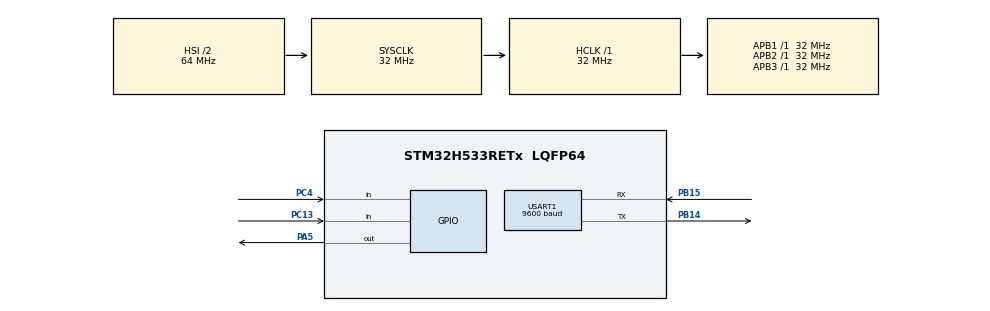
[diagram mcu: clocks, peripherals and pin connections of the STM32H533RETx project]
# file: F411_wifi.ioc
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BOOTPATH.BootPathName=LEGACY
BOOTPATH.UserSelectedBootPath=LEGACY
CORTEX_M33_NS.userName=CORTEX_M33
Mcu.Family=STM32H5
Mcu.Name=STM32H533RETx
Mcu.Package=LQFP64
NUCLEO-H533RE.BUTTON=1
NUCLEO-H533RE.LD4=true
NUCLEO-H533RE.VCP=true
NVIC.EXTI13_IRQn=true\:0\:0\:false\:false\:true\:false\:true\:true
NVIC.PriorityGroup=NVIC_PRIORITYGROUP_4
PA13(JTMS/SWDIO).GPIO_Label=SWDIO
PA13(JTMS/SWDIO).Signal=DEBUG_JTMS-SWDIO
PA14(JTCK/SWCLK).GPIO_Label=SWCLK
PA14(JTCK/SWCLK).Signal=DEBUG_JTCK-SWCLK
PA15(JTDI).GPIO_Label=JTDI
PA15(JTDI).Signal=DEBUG_JTDI
PA2.Signal=USART2_TX
PA3.Signal=USART2_RX
PA5.Signal=GPIO_Output
PB14.Mode=Asynchronous
PB14.Signal=USART1_TX
PB15.Mode=Asynchronous
PB15.Signal=USART1_RX
PB3(JTDO/TRACESWO).GPIO_Label=SWO
PB3(JTDO/TRACESWO).Signal=DEBUG_JTDO-SWO
PC13.GPIO_PuPd=GPIO_PULLUP
PC13.Signal=GPIO_Input
PC4.Signal=GPIO_Input
ProjectManager.HeapSize=0x200
ProjectManager.StackSize=0x400
ProjectManager.TargetToolchain=STM32CubeIDE
RCC.ADCFreq_Value=32000000
RCC.AHBFreq_Value=32000000
RCC.APB1Freq_Value=32000000
RCC.APB1TimFreq_Value=32000000
RCC.APB2Freq_Value=32000000
RCC.APB2TimFreq_Value=32000000
RCC.APB3Freq_Value=32000000
RCC.CSI_VALUE=4000000
RCC.CortexFreq_Value=32000000
RCC.EPOD_VALUE=4000000
RCC.HCLKFreq_Value=32000000
RCC.HSE_VALUE=25000000
RCC.HSI48_VALUE=48000000
RCC.HSI_VALUE=64000000
RCC.LSE_VALUE=32768
RCC.LSIRC_VALUE=32000
RCC.SYSCLKFreq_VALUE=32000000
RCC.USBFreq_Value=48000000
RCC.VCOOutputFreq_Value=516000000
USART1.BaudRate=9600
USART1.VirtualMode-Asynchronous=VM_ASYNC
VP_BOOTPATH_VS_BOOTPATH.Mode=BP_Activate
VP_CORTEX_M33_NS_VS_Hclk.Mode=Hclk_Mode
VP_MEMORYMAP_VS_MEMORYMAP.Mode=CurAppReg
VP_NUCLEO-H533RE_VS_BSP_COMMON.Mode=COMMON
VP_PWR_VS_LPOM.Mode=PowerOptimisation
VP_PWR_VS_SECSignals.Mode=Security/Privilege
board=NUCLEO-H533RE

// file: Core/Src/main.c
/* USER CODE BEGIN Header */
/**
  ******************************************************************************
  * @file           : main.c
  * @brief          : Main program body
  ******************************************************************************
  * @attention
  *
  * Copyright (c) 2025 STMicroelectronics.
  * All rights reserved.
  *
  * This software is licensed under terms that can be found in the LICENSE file
  * in the root directory of this software component.
  * If no LICENSE file comes with this software, it is provided AS-IS.
  *
  ******************************************************************************
  */
/* USER CODE END Header */
#include "main.h"

/* USER CODE BEGIN Includes */
#include <string.h>
#include <stdio.h>
#include <ctype.h>
/* USER CODE END Includes */

/* USER CODE BEGIN PD */
#define WIFI_BAUD     9600
#define AP_SSID       "STM32-WiFi-Lab"
#define AP_PW         "change-this-lab-password"
#define TCP_PORT      5000
/* USER CODE END PD */

COM_InitTypeDef BspCOMInit;

UART_HandleTypeDef huart1;

/* USER CODE BEGIN PV */
static volatile uint8_t led_state = 0;  // LD2
static uint8_t  btn_prev  = 1;         // PC13
static char     line_buf[128];

static int last_client_id = 0; // 마지막으로 접속한 클라이언트 ID 저장용
/* USER CODE END PV */

void SystemClock_Config(void);
static void MX_GPIO_Init(void);
static void MX_USART1_UART_Init(void);

/* USER CODE BEGIN 0 */
static void uart_send(const char *s){ HAL_UART_Transmit(&huart1,(uint8_t*)s,(uint16_t)strlen(s),1000); }
static void uart_send_ln(const char *s){ uart_send(s); uart_send("\r\n"); }

// '\n'까지 라인 받기
static int uart_read_line(char *out, uint16_t maxlen, uint32_t timeout_ms)
{
  uint32_t t0=HAL_GetTick(); uint16_t i=0; uint8_t b;
  while((HAL_GetTick()-t0)<timeout_ms && i<(maxlen-1)){
    if(HAL_UART_Receive(&huart1,&b,1,10)==HAL_OK){ out[i++]=(char)b; if(b=='\n') break; }
  }
  out[i]=0; return (i>0);
}

// 보드레이트 변경(런타임)
static void uart_set_baud(uint32_t baud)
{
  HAL_UART_DeInit(&huart1);
  huart1.Init.BaudRate = baud;
  HAL_UART_Init(&huart1);
}

// AT 기대 토큰 대기 (OK/no change/READY도 통과)
static int at_expect(const char *cmd, const char *expect, uint32_t timeout_ms)
{
	if(cmd&&*cmd) uart_send_ln(cmd);
	char buf[128]; uint32_t t0=HAL_GetTick();
	while((HAL_GetTick()-t0)<timeout_ms){
	  if(uart_read_line(buf,sizeof(buf),200)){
	    // 응답 로그 확인용 출력 추가해도 좋음
	    // uart_send("[R] "); uart_send_ln(buf);

	    if (expect && *expect && strstr(buf, expect)) return 1;
	    if (strstr(buf,"OK") || strstr(buf,"no change") || strstr(buf,"READY") || strstr(buf,"ready")) return 1;
	    if (strstr(buf,"ERROR")) return 0;

	    // 한 번 더 반복문 돌며 다른 라인 확인
	  }
	}
	return 0;
}

// ESP 보드레이트 자동 동기화: 9600 시도→실패면 115200에서 9600으로 강제
static int esp_sync_force_9600(void)
{
  // 1) 9600에서 AT 시도
  for(int i=0;i<3;i++){ uart_send_ln("AT"); if(at_expect(NULL,"OK",200)) return 1; HAL_Delay(100); }

  // 2) 115200로 전환해 AT 잡고 9600으로 내리기
  uart_set_baud(115200);
  for(int i=0;i<8;i++){
    uart_send_ln("AT");
    if(at_expect(NULL,"OK",250)){
      uart_send_ln("AT+UART_DEF=9600,8,1,0,0");
      at_expect(NULL,"OK",800);
      uart_send_ln("AT+RST");
      HAL_Delay(700);
      uart_set_baud(9600);
      for(int j=0;j<6;j++){ uart_send_ln("AT"); if(at_expect(NULL,"OK",250)) return 1; HAL_Delay(100); }
      break;
    }
    HAL_Delay(120);
  }
  return 0;
}

static void LED_Set(uint8_t on){
  led_state = on?1:0;
  HAL_GPIO_WritePin(GPIOA, GPIO_PIN_5, on?GPIO_PIN_SET:GPIO_PIN_RESET);
}

// +IPD,ID,LEN:PAYLOAD → payload 한 줄 추출 (서버 측)
static int esp_read_payload_line(char *out, uint16_t maxlen, uint32_t timeout_ms)
{
  char buf[128];
  if(!uart_read_line(buf,sizeof(buf),timeout_ms)) return 0;

  // 이벤트: "0,CONNECT"/"0,CLOSED" 같은 건 무시
  if (strchr(buf,',') && !strstr(buf,"+IPD")) return 0;

  char *p = strstr(buf, "+IPD,"); if(!p) return 0;
  char *colon = strchr(p, ':');   if(!colon) return 0;

  // ID 추출해서 전역변수에 저장
  sscanf(p, "+IPD,%d,", &last_client_id);  // ★ 중요!

  // payload 복사
  strncpy(out, colon+1, maxlen-1); out[maxlen-1]=0;
  printf("📡 ID %d sent: %s\n", last_client_id, out);
  return 1;
}

// 최근 접속자로 보내기(멀티연결)
static void esp_send_to_last(const char *payload)
{
  int len = (int)strlen(payload);
  char cmd[32];

  // 저장된 id에 보내기
  snprintf(cmd, sizeof(cmd), "AT+CIPSEND=%d,%d", last_client_id, len);
  uart_send_ln(cmd);

  // '>' 프롬프트 대기
  char b[64]; uint32_t t0 = HAL_GetTick(); int ok = 0;
  while((HAL_GetTick() - t0) < 1200){
    if(uart_read_line(b, sizeof(b), 200)){
      if(strchr(b, '>')){ ok = 1; break; }
      if(strstr(b, "ERROR")) break;
    }
  }
  if(!ok) return;

  HAL_UART_Transmit(&huart1, (uint8_t*)payload, (uint16_t)len, 1000);
  at_expect(NULL, "SEND OK", 800);
}
/* USER CODE END 0 */

int main(void)
{

  /* MCU Configuration--------------------------------------------------------*/

  /* Reset of all peripherals, Initializes the Flash interface and the Systick. */
  HAL_Init();

  /* Configure the system clock */
  SystemClock_Config();

  /* Initialize all configured peripherals */
  MX_GPIO_Init();
  MX_USART1_UART_Init();
  /* USER CODE BEGIN 2 */
  LED_Set(0);

  // 0) 보드레이트 동기화 (가장 중요)
  if (!esp_sync_force_9600()){
    // 실패 표시(빠르게 10번 점멸)
    for(int i=0;i<10;i++){ LED_Set(i&1); HAL_Delay(120); }
  }

  // 1) AP 모드
  at_expect("AT", "OK", 2000);
  at_expect("AT+CWMODE=2", "OK", 2000);

  // 2) AP 개설 (펌웨어에 따라 _CUR로 다시 시도)
  { char cmd[96];
    snprintf(cmd,sizeof(cmd),"AT+CWSAP=\"%s\",\"%s\",5,3", AP_SSID, AP_PW);
    if(!at_expect(cmd,"OK",4000)){
      snprintf(cmd,sizeof(cmd),"AT+CWSAP_CUR=\"%s\",\"%s\",5,3", AP_SSID, AP_PW);
      at_expect(cmd,"OK",4000);
    }
  }

  // 3) TCP 서버 오픈
  at_expect("AT+CIPMUX=1", "OK", 2000);
  at_expect("AT+CIPSERVER=0", "OK", 2000);
  { char cmd[48]; snprintf(cmd,sizeof(cmd),"AT+CIPSERVER=1,%d", TCP_PORT); at_expect(cmd,"OK",3000); }
  at_expect("AT+CIPSTO=300", "OK", 2000);

  // 4) AP IP 확인 (로그용)
  uart_send_ln("AT+CIFSR");  // 여기서 +CIFSR:APIP,"192.168.4.1" 등이 옴

  // 성공 표시: 두 번 점멸
  for(int i=0;i<2;i++){ LED_Set(1); HAL_Delay(200); LED_Set(0); HAL_Delay(200); }
  /* USER CODE END 2 */

  /* Initialize leds */
  BSP_LED_Init(LED_GREEN);

  /* Initialize USER push-button, will be used to trigger an interrupt each time it's pressed.*/
  BSP_PB_Init(BUTTON_USER, BUTTON_MODE_EXTI);

  /* Initialize COM1 port (115200, 8 bits (7-bit data + 1 stop bit), no parity */
  BspCOMInit.BaudRate   = 115200;
  BspCOMInit.WordLength = COM_WORDLENGTH_8B;
  BspCOMInit.StopBits   = COM_STOPBITS_1;
  BspCOMInit.Parity     = COM_PARITY_NONE;
  BspCOMInit.HwFlowCtl  = COM_HWCONTROL_NONE;
  if (BSP_COM_Init(COM1, &BspCOMInit) != BSP_ERROR_NONE)
  {
    Error_Handler();
  }

  /* Infinite loop */
  while (1)
  {

    /* USER CODE BEGIN 3 */
	  // 서버에서 보낸 "LED ON"/"LED OFF" 처리
	   if (esp_read_payload_line(line_buf, sizeof(line_buf), 50)) {
	     if (strstr(line_buf, "LED ON"))  LED_Set(1);
	     if (strstr(line_buf, "LED OFF")) LED_Set(0);
	   }

	   // 버튼 에지 → LED 토글 + 최근 연결(id=0 가정)로 통지
	   uint8_t now = HAL_GPIO_ReadPin(GPIOC, GPIO_PIN_13);
	   if (btn_prev != now){ HAL_Delay(30); now = HAL_GPIO_ReadPin(GPIOC, GPIO_PIN_13); }
	   if (btn_prev==GPIO_PIN_SET && now==GPIO_PIN_RESET){
	     LED_Set(!led_state);
	     esp_send_to_last( led_state ? "LED ON\n" : "LED OFF\n" );
	   }
	   btn_prev = now;
  }
  /* USER CODE END 3 */
}

void SystemClock_Config(void)
{
  RCC_OscInitTypeDef RCC_OscInitStruct = {0};
  RCC_ClkInitTypeDef RCC_ClkInitStruct = {0};

  /** Configure the main internal regulator output voltage
  */
  __HAL_PWR_VOLTAGESCALING_CONFIG(PWR_REGULATOR_VOLTAGE_SCALE3);

  while(!__HAL_PWR_GET_FLAG(PWR_FLAG_VOSRDY)) {}

  /** Initializes the RCC Oscillators according to the specified parameters
  * in the RCC_OscInitTypeDef structure.
  */
  RCC_OscInitStruct.OscillatorType = RCC_OSCILLATORTYPE_HSI;
  RCC_OscInitStruct.HSIState = RCC_HSI_ON;
  RCC_OscInitStruct.HSIDiv = RCC_HSI_DIV2;
  RCC_OscInitStruct.HSICalibrationValue = RCC_HSICALIBRATION_DEFAULT;
  RCC_OscInitStruct.PLL.PLLState = RCC_PLL_NONE;
  if (HAL_RCC_OscConfig(&RCC_OscInitStruct) != HAL_OK)
  {
    Error_Handler();
  }

  /** Initializes the CPU, AHB and APB buses clocks
  */
  RCC_ClkInitStruct.ClockType = RCC_CLOCKTYPE_HCLK|RCC_CLOCKTYPE_SYSCLK
                              |RCC_CLOCKTYPE_PCLK1|RCC_CLOCKTYPE_PCLK2
                              |RCC_CLOCKTYPE_PCLK3;
  RCC_ClkInitStruct.SYSCLKSource = RCC_SYSCLKSOURCE_HSI;
  RCC_ClkInitStruct.AHBCLKDivider = RCC_SYSCLK_DIV1;
  RCC_ClkInitStruct.APB1CLKDivider = RCC_HCLK_DIV1;
  RCC_ClkInitStruct.APB2CLKDivider = RCC_HCLK_DIV1;
  RCC_ClkInitStruct.APB3CLKDivider = RCC_HCLK_DIV1;

  if (HAL_RCC_ClockConfig(&RCC_ClkInitStruct, FLASH_LATENCY_1) != HAL_OK)
  {
    Error_Handler();
  }

  /** Configure the programming delay
  */
  __HAL_FLASH_SET_PROGRAM_DELAY(FLASH_PROGRAMMING_DELAY_0);
}

static void MX_USART1_UART_Init(void)
{

  huart1.Instance = USART1;
  huart1.Init.BaudRate = 9600;
  huart1.Init.WordLength = UART_WORDLENGTH_8B;
  huart1.Init.StopBits = UART_STOPBITS_1;
  huart1.Init.Parity = UART_PARITY_NONE;
  huart1.Init.Mode = UART_MODE_TX_RX;
  huart1.Init.HwFlowCtl = UART_HWCONTROL_NONE;
  huart1.Init.OverSampling = UART_OVERSAMPLING_16;
  huart1.Init.OneBitSampling = UART_ONE_BIT_SAMPLE_DISABLE;
  huart1.Init.ClockPrescaler = UART_PRESCALER_DIV1;
  huart1.AdvancedInit.AdvFeatureInit = UART_ADVFEATURE_NO_INIT;
  if (HAL_UART_Init(&huart1) != HAL_OK)
  {
    Error_Handler();
  }
  if (HAL_UARTEx_SetTxFifoThreshold(&huart1, UART_TXFIFO_THRESHOLD_1_8) != HAL_OK)
  {
    Error_Handler();
  }
  if (HAL_UARTEx_SetRxFifoThreshold(&huart1, UART_RXFIFO_THRESHOLD_1_8) != HAL_OK)
  {
    Error_Handler();
  }
  if (HAL_UARTEx_DisableFifoMode(&huart1) != HAL_OK)
  {
    Error_Handler();
  }

}

static void MX_GPIO_Init(void)
{
  GPIO_InitTypeDef GPIO_InitStruct = {0};

  /* GPIO Ports Clock Enable */
  __HAL_RCC_GPIOC_CLK_ENABLE();
  __HAL_RCC_GPIOA_CLK_ENABLE();
  __HAL_RCC_GPIOB_CLK_ENABLE();

  /*Configure GPIO pin Output Level */
  HAL_GPIO_WritePin(GPIOA, GPIO_PIN_5, GPIO_PIN_RESET);

  /*Configure GPIO pin : PC13 */
  GPIO_InitStruct.Pin = GPIO_PIN_13;
  GPIO_InitStruct.Mode = GPIO_MODE_INPUT;
  GPIO_InitStruct.Pull = GPIO_PULLUP;
  HAL_GPIO_Init(GPIOC, &GPIO_InitStruct);

  /*Configure GPIO pin : PA5 */
  GPIO_InitStruct.Pin = GPIO_PIN_5;
  GPIO_InitStruct.Mode = GPIO_MODE_OUTPUT_PP;
  GPIO_InitStruct.Pull = GPIO_NOPULL;
  GPIO_InitStruct.Speed = GPIO_SPEED_FREQ_LOW;
  HAL_GPIO_Init(GPIOA, &GPIO_InitStruct);

  /*Configure GPIO pin : PC4 */
  GPIO_InitStruct.Pin = GPIO_PIN_4;
  GPIO_InitStruct.Mode = GPIO_MODE_INPUT;
  GPIO_InitStruct.Pull = GPIO_NOPULL;
  HAL_GPIO_Init(GPIOC, &GPIO_InitStruct);

}

void Error_Handler(void)
{
  __disable_irq();
  while (1)
  {
  }
}
